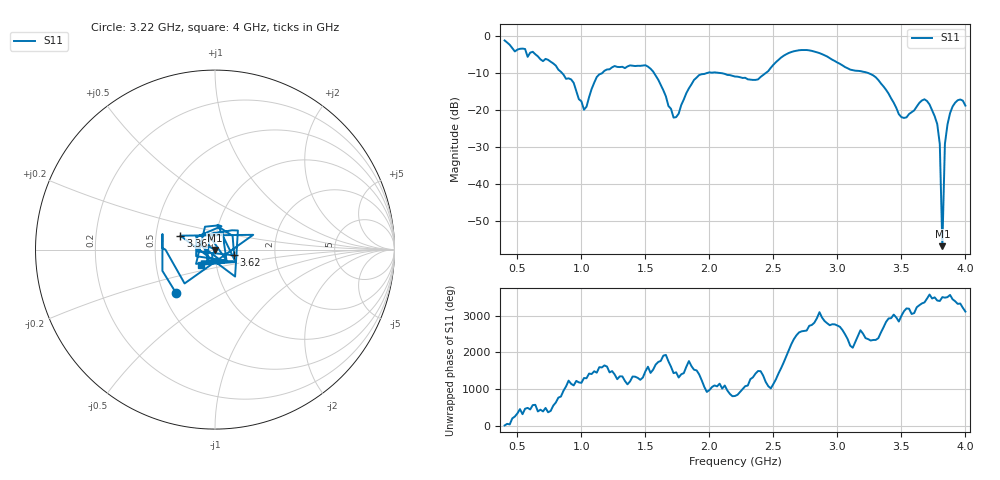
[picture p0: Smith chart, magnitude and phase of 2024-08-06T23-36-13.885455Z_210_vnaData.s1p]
!Created with skrf (http://scikit-rf.org).
# Hz S RI R 50.0
!freq ReS11 ImS11
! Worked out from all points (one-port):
!   181 points, 400 MHz to 4 GHz, reference 50 ohm
!   lowest |S11| = -56.9 dB at 3.82 GHz (marker M1), VSWR 1.00, Z = 50 - j0.14 ohm
!   |S11| at or under -10 dB: 1.567 GHz to 1.983 GHz (415.2 MHz wide, 23.4 % of centre); 2.075 GHz to 2.439 GHz (364.3 MHz wide, 16.1 % of centre); 3.24 GHz to end of sweep (the widest 3 of 4)
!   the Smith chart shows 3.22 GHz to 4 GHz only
!   S11 on the Smith chart (normalised r, x): 3.22 GHz: 0.58, -0.31; 3.36 GHz: 0.67, +0.11; 3.62 GHz: 1.24, -0.08; 4 GHz: 0.84, -0.14
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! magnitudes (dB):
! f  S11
! 400 MHz  -1.2
! 860 MHz  -10.4
! 940 MHz  -12.7
! 1.02 GHz  -19.9
! 1.12 GHz  -11.1
! 1.3 GHz  -8.4
! 1.52 GHz  -8.3
! 1.6 GHz  -11.8
! 1.72 GHz  -22.1
! 1.76 GHz  -21.0
! 1.92 GHz  -10.6
! 2.2 GHz  -11.0
! 2.38 GHz  -11.7
! 2.66 GHz  -4.1
! 3.1 GHz  -9.1
! 3.22 GHz  -9.8
! 3.36 GHz  -13.6
! 3.5 GHz  -21.9
! 3.56 GHz  -21.1
! 3.62 GHz  -19.1
! 3.7 GHz  -17.6
! 3.78 GHz  -23.8
! 3.8 GHz  -29.2
! 3.82 GHz  -56.9
! 3.84 GHz  -29.2
! 3.86 GHz  -23.9
! 3.92 GHz  -18.0
! 4 GHz  -18.8
